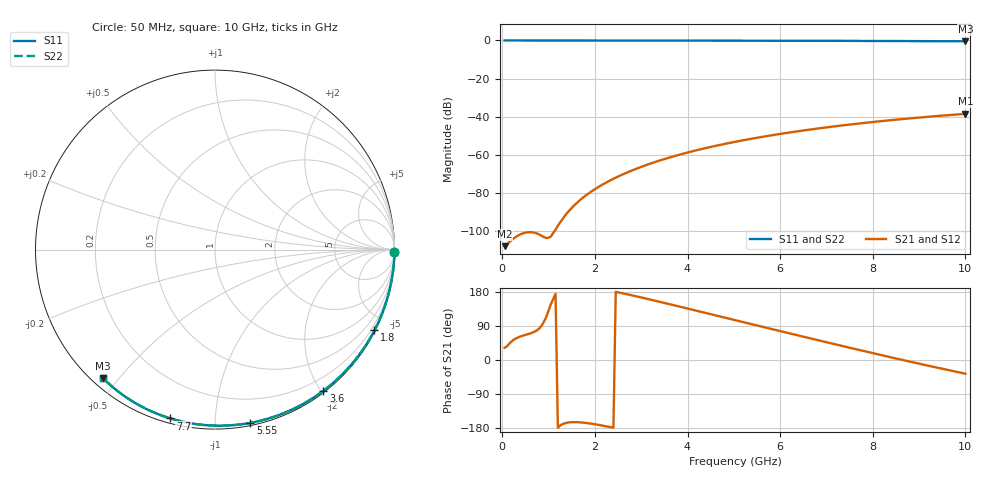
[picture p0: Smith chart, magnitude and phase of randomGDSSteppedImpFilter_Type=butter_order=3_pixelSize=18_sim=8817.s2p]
! freq	dB(S11)	phase(S11)	dB(S12)	phase(S12)
!  dB(S21)	phase(S21)	dB(S22)	phase(S22)
!S-par simulation data
#  GHz  S  DB  R 50
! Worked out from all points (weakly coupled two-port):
!   200 points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, 50 MHz to 10 GHz, reference 50 ohm
!   highest |S21| = -38.55 dB at 10 GHz (marker M1); lowest = -108.1 dB at 50 MHz (marker M2)
!   lowest |S11| = -0.4 dB at 10 GHz (marker M3), VSWR 39.09, Z = 1.54 - j22.7 ohm
!   |S11| at or under -10 dB: nowhere
!   |S22| runs from -0.4 to 0.0 dB; largest |S21 - S12| = 0
!   S11 on the Smith chart (normalised r, x): 50 MHz: open; 1.8 GHz: 0.04, -4.19; 3.6 GHz: 0.02, -2.03; 5.55 GHz: 0.02, -1.22; 7.7 GHz: 0.02, -0.77; 10 GHz: 0.03, -0.45
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0.05  -0.00 -0.8  -108.09 32.3  -108.09 32.3  -0.00 -0.8
0.45  -0.01 -6.8  -101.31 64.5  -101.31 64.5  -0.01 -6.8
0.9  -0.02 -13.6  -103.33 101.4  -103.33 101.4  -0.02 -13.6
1.75  -0.03 -26.1  -82.46 -165.3  -82.46 -165.3  -0.03 -26.1
1.8  -0.03 -26.9  -81.51 -166.0  -81.51 -166.0  -0.03 -26.9
1.9  -0.04 -28.3  -79.76 -167.7  -79.76 -167.7  -0.04 -28.3
2.05  -0.04 -30.5  -77.38 -170.6  -77.38 -170.6  -0.04 -30.5
2.25  -0.04 -33.4  -74.57 -175.1  -74.57 -175.1  -0.04 -33.4
2.45  -0.05 -36.3  -72.08 179.9  -72.08 179.9  -0.05 -36.3
2.65  -0.05 -39.2  -69.85 174.7  -69.85 174.7  -0.05 -39.2
3  -0.06 -44.1  -66.43 165.0  -66.43 165.0  -0.06 -44.1
3.4  -0.07 -49.8  -63.08 153.5  -63.08 153.5  -0.07 -49.8
3.6  -0.07 -52.5  -61.58 147.7  -61.58 147.7  -0.07 -52.5
4.3  -0.09 -62.1  -57.06 126.9  -57.06 126.9  -0.09 -62.1
5.05  -0.11 -72.0  -53.14 104.5  -53.14 104.5  -0.11 -72.0
5.55  -0.13 -78.5  -50.91 89.6  -50.91 89.6  -0.13 -78.5
6.1  -0.15 -85.4  -48.73 73.3  -48.73 73.3  -0.15 -85.4
6.7  -0.18 -92.8  -46.63 55.7  -46.63 55.7  -0.18 -92.8
7.7  -0.24 -104.8  -43.64 26.7  -43.64 26.7  -0.24 -104.8
8.35  -0.29 -112.4  -41.98 8.2  -41.98 8.2  -0.29 -112.4
9.15  -0.36 -121.5  -40.20 -13.8  -40.20 -13.8  -0.36 -121.5
10  -0.44 -131.1  -38.55 -36.1  -38.55 -36.1  -0.44 -131.1
